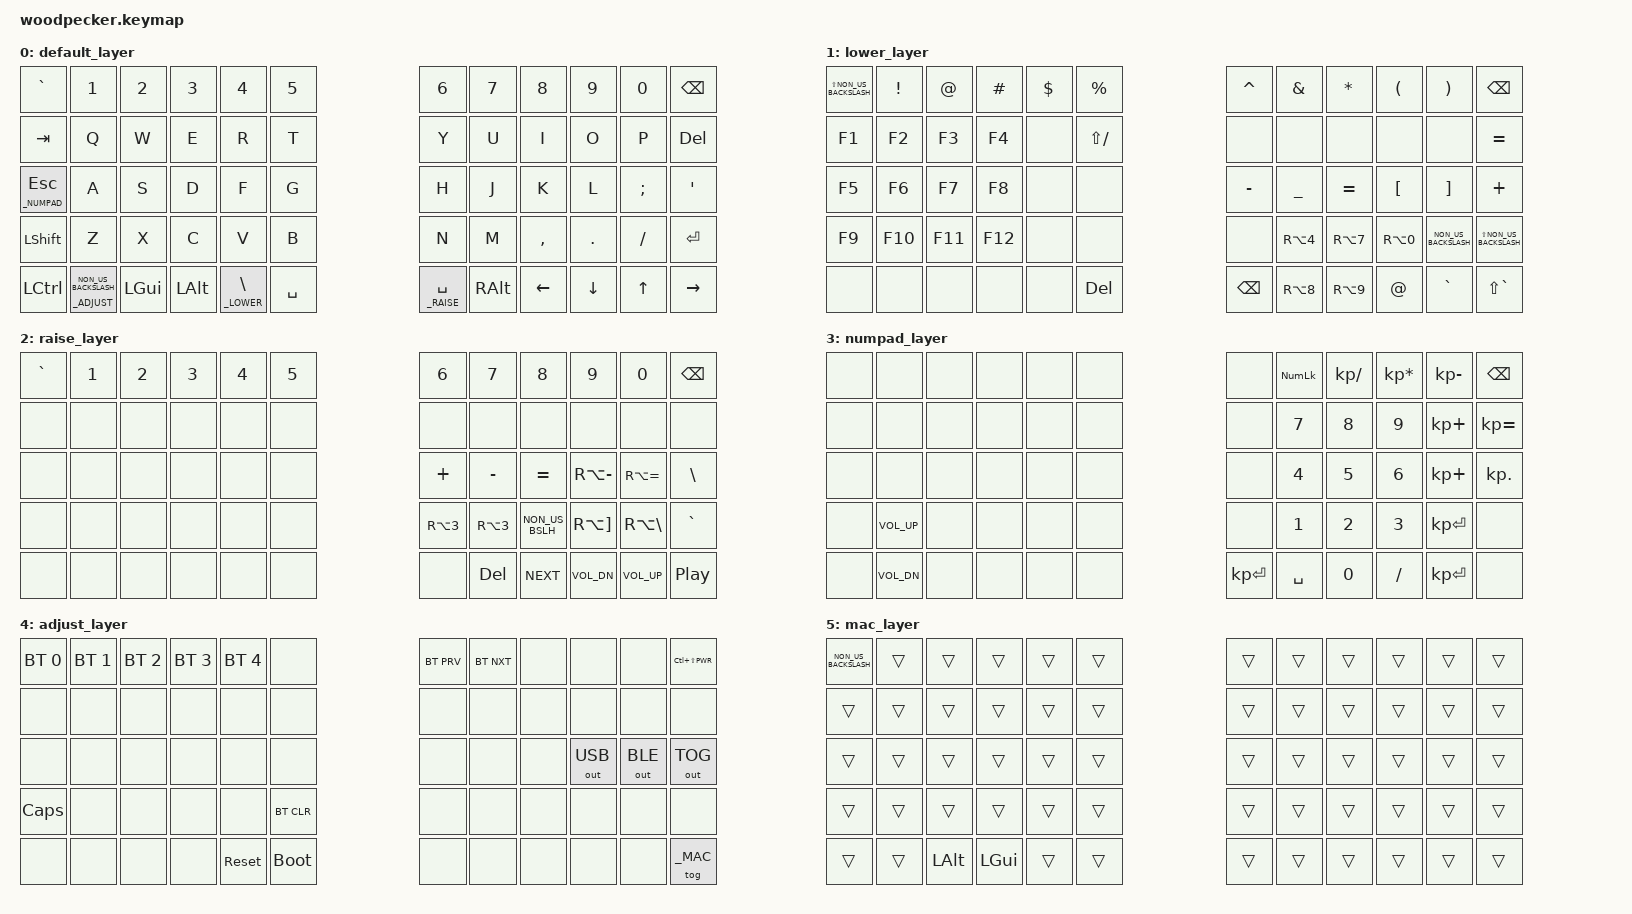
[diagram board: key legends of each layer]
/*
 * Copyright (c) 2023 The ZMK Contributors
 *
 * SPDX-License-Identifier: MIT
 */

#include <behaviors.dtsi>
#include <dt-bindings/zmk/keys.h>
#include <dt-bindings/zmk/bt.h>
// required to toggle usb and bluetooth output
#include <dt-bindings/zmk/outputs.h>

// For QMK:
// KC_NONUS_BSLASH (\|) is equivalent to ["é] key in Turkish keyboards.
// KC_GRV (~ `) is equivalent to [<>|] key in Turkish keyboards.
// KC_SCLN is Turkish s [şŞ] key
// KC_QUOT is Turkish i [iİ] key
// KC_COMM is Turkish o [öÖ] key
// KC_DOT is Turkish c [çÇ] key

// For ZMK:
// NON_US_BACKSLASH (\|) is equivalent to ["é] key in Turkish keyboards.
// GRAVE (~ `) is equivalent to [<>|] key in Turkish keyboards.
// SEMI (;) is Turkish s [şŞ] key
// SQT (') is Turkish i [iİ] key
// COMMA (,) is Turkish o [öÖ] key
// DOT (.) is Turkish c [çÇ] key
// FSLH (/) is Turkish dot [.:] key
// BSLH (\) is Turkish comma (,;) key


// In Turkish Windows, Grave and Non US Backslash are switched


// Custom shortcuts specific to Turkish layout
#define _CURLY_OPEN RA(N7)
#define _CURLY_CLOSE RA(N0)
#define _AT_SIGN RA(Q)
#define _SQUARE_OPEN RA(N8)
#define _SQUARE_CLOSE RA(N9)
#define _DOLLAR_SIGN RA(N4)
#define _BACKSLASH RA(MINUS)
#define _VERTICAL_PIPE RA(EQUAL)
#define _BACKTICK RA(BACKSLASH)
#define _TILDE RA(RIGHT_BRACKET)
#define _HASHTAG RA(N3)
#define _LOCKSCREEN LC(LS(C_PWR))

#define _QWERTY 0
#define _LOWER 1
#define _RAISE 2
#define _NUMPAD 3
#define _ADJUST 4
#define _MAC 5

/ {
    keymap {
        compatible = "zmk,keymap";

       /* Qwerty
        * ,-----------------------------------------. ,-----------------------------------------.
        * |  "   |  1   |  2   |  3   |  4   |  5   | |  6   |  7   |  8   |  9   |  0   | BkSp |
        * |------+------+------+------+------+------| |------+------+------+------+------+------|
        * | Tab  |  Q   |  W   |  E   |  R   |  T   | |  Y   |  U   |  I   |  O   |  P   | Del  |
        * |------+------+------+------+------+------| |------+------+------+------+------+------|
        * |NpdEsc|  A   |  S   |  D   |  F   |  G   | |  H   |  J   |  K   |  L   |  Ş   |  İ   |
        * |------+------+------+------+------+------| |------+------+------+------+------+------|
        * | LSFT |  Z   |  X   |  C   |  V   |  B   | |  N   |  M   |  Ö   |  Ç   |  .   |SftEnt|
        * |------+------+------+------+------+------| |------+------+------+------+------+------|
        * | Ctrl |Adj|<>| Win  | Alt  |Lowr|,|Space | |RaiSPC| AltGR| Left | Down |  Up  | Rght |
        * `-----------------------------------------' `-----------------------------------------'
        */

        default_layer {
            bindings = <
            &kp GRAVE &kp N1  &kp N2  &kp N3  &kp N4  &kp N5                    &kp N6  &kp N7  &kp N8  &kp N9  &kp N0  &kp BSPC
            &kp TAB  &kp Q  &kp W  &kp E  &kp R  &kp T                          &kp Y  &kp U  &kp I  &kp O  &kp P  &kp DEL
            &lt _NUMPAD ESC  &kp A  &kp S  &kp D  &kp F  &kp G                  &kp H  &kp J  &kp K  &kp L  &kp SEMI  &kp SQT
            &kp LSHFT  &kp Z  &kp X  &kp C  &kp V  &kp B                        &kp N  &kp M  &kp COMMA  &kp DOT  &kp FSLH  &kp ENTER
            &kp LCTRL  &lt _ADJUST NON_US_BACKSLASH  &kp LGUI  &kp LALT  &lt _LOWER BSLH  &kp SPACE        &lt _RAISE SPACE  &kp RALT  &kp LEFT  &kp DOWN  &kp UP  &kp RIGHT
            >;
        };

        /* Lower
        * ,-----------------------------------------. ,-----------------------------------------.
        * |  >   |  !   |   '  |  ^   |   +  |  %   | |  &   |   /  |  (   |   )  |   =  | BKSP |
        * |------+------+------+------+------+------| |------+------+------+------+------+------|
        * |  F1  |  F2  |  F3  |  F4  |      |   :  | |      |      |      |      |      |  -   |
        * |------+------+------+------+------+------| |------+------+------+------+------+------|
        * |  F5  |  F6  |  F7  |  F8  |      |      | |   *  |  ?   |  -   |  Ğ   |  Ü   |  _   |
        * |------+------+------+------+------+------| |------+------+------+------+------+------|
        * |  F9  |  F10 |  F11 |  F12 |      |      | |      |  $   |  {   |   }  |  <   |  >   |
        * |------+------+------+------+------+------| |------+------+------+------+------+------|
        * |      |      |      |      |[=xx=]| DEL  | | BKSP |  [   |  ]   |   '  |  "   |  é   |
        * `-----------------------------------------' `-----------------------------------------'
        */
        lower_layer {
            bindings = <
            &kp LS(NON_US_BACKSLASH)  &kp EXCL  &kp AT  &kp HASH  &kp DLLR  &kp PRCNT               &kp CARET  &kp AMPS  &kp ASTERISK  &kp LPAR  &kp RPAR  &kp BSPC
            &kp F1  &kp F2  &kp F3  &kp F4  &none   &kp LS(FSLH)                                    &none  &none  &none  &none  &none  &kp EQUAL
            &kp F5  &kp F6  &kp F7  &kp F8  &none   &none                                           &kp MINUS  &kp UNDERSCORE  &kp EQUAL  &kp LEFT_BRACKET  &kp RIGHT_BRACKET  &kp PLUS
            &kp F9  &kp F10 &kp F11  &kp F12  &none  &none                                          &none  &kp _DOLLAR_SIGN  &kp _CURLY_OPEN  &kp _CURLY_CLOSE  &kp NON_US_BACKSLASH  &kp LS(NON_US_BACKSLASH)
            &none  &none  &none  &none  &none  &kp DEL                                              &kp BSPC  &kp _SQUARE_OPEN  &kp _SQUARE_CLOSE  &kp AT  &kp GRAVE  &kp LS(GRAVE)
            >;
        };

        /* Raise
        * ,-----------------------------------------. ,-----------------------------------------.
        * |  <>| |  1   |  2   |  3   |  4   |  5   | |  6   |  7   |  8   |  9   |  0   | BKSP |
        * |------+------+------+------+------+------| |------+------+------+------+------+------|
        * |      |      |      |      |      |      | |      |      |      |      |      |      |
        * |------+------+------+------+------+------| |------+------+------+------+------+------|
        * |      |      |      |      |      |      | |   _  |   *  |   -  | "\"  | "|"  |  ,   |
        * |------+------+------+------+------+------| |------+------+------+------+------+------|
        * |      |      |      |      |      |      | |   #  |   #  |   "  | "~"  | "`"  |  <>| |
        * |------+------+------+------+------+------| |------+------+------+------+------+------|
        * |      |      |      |      |      |      | |[=xx=]| DEL | Next | Vol- | Vol+ |PlyPse |
        * `-----------------------------------------' `-----------------------------------------'
        */
        raise_layer {
            bindings = <
            &kp GRAVE  &kp N1  &kp N2  &kp N3  &kp N4  &kp N5    &kp N6  &kp N7  &kp N8  &kp N9  &kp N0  &kp BSPC
            &none  &none  &none  &none  &none  &none             &none  &none  &none  &none  &none  &none
            &none  &none  &none  &none  &none  &none             &kp PLUS  &kp MINUS  &kp EQUAL  &kp _BACKSLASH  &kp _VERTICAL_PIPE  &kp BACKSLASH
            &none  &none  &none  &none  &none  &none             &kp _HASHTAG  &kp _HASHTAG  &kp NON_US_BSLH  &kp _TILDE  &kp _BACKTICK  &kp GRAVE
            &none  &none  &none  &none  &none  &none             &none  &kp DEL  &kp C_NEXT  &kp C_VOL_DN  &kp C_VOL_UP  &kp C_PLAY_PAUSE
            >;
        };

        /* Numpad
        * KP_PDOT is comma on the Turkish layout ¯\_(ツ)_/¯
        * ,-----------------------------------------. ,-----------------------------------------.
        * |      |      |      |      |      |      | |      | NLCK |   /  |   *  |   -  | Bksp |
        * |------+------+------+------+------+------| |------+------+------+------+------+------|
        * |      |      |      |      |      |      | |      |   7  |   8  |   9  |   +  |  =   |
        * |------+------+------+------+------+------| |------+------+------+------+------+------|
        * |[=xx=]|      |      |      |      |      | |      |   4  |   5  |   6  |   +  |  ,   |
        * |------+------+------+------+------+------| |------+------+------+------+------+------|
        * |      | Vol+ |      |      |      |      | |      |   1  |   2  |   3  |Enter |      |
        * |------+------+------+------+------+------| |------+------+------+------+------+------|
        * |      | Vol- |      |      |      |      | |Enter |Space |   0  |   .  |Enter |      |
        * `-----------------------------------------' `-----------------------------------------'
        */
        numpad_layer {
            bindings = <
            &none  &none  &none  &none  &none  &none                    &none  &kp KP_NUMLOCK  &kp KP_SLASH  &kp KP_ASTERISK  &kp KP_MINUS  &kp BSPC
            &none  &none  &none  &none  &none  &none                    &none  &kp N7  &kp N8  &kp N9  &kp KP_PLUS  &kp KP_EQUAL
            &none  &none  &none  &none  &none  &none                    &none  &kp N4  &kp N5  &kp N6  &kp KP_PLUS  &kp KP_DOT
            &none  &kp C_VOL_UP  &none  &none  &none  &none             &none  &kp N1  &kp N2  &kp N3  &kp KP_ENTER  &none
            &none  &kp C_VOL_DN  &none  &none  &none  &none             &kp KP_ENTER  &kp SPACE  &kp N0  &kp SLASH  &kp KP_ENTER  &none
            >;
        };


        /* Adjust
        * ,-----------------------------------------. ,-----------------------------------------.
        * |  BT0 |  BT1 |  BT2 |  BT3 |  BT4 |      | | BtPrv| BtNxt|      |      |      |LckOSX|
        * |------+------+------+------+------+------| |------+------+------+------+------+------|
        * |      |      |      |      |      |      | |      |      |      |      |      |      |
        * |------+------+------+------+------+------| |------+------+------+------+------+------|
        * |      |      |      |      |      |      | |      |      |      |OutUSB|OutBLE|OutTog|
        * |------+------+------+------+------+------| |------+------+------+------+------+------|
        * |CpsLck|      |      |      |      | BtClr| |      |      |      |      |      |      |
        * |------+------+------+------+------+------| |------+------+------+------+------+------|
        * |      |[=xx=]|      |      | Reset|BootLd| |      |      |      |      |      | MAC  |
        * `-----------------------------------------' `-----------------------------------------'
        */
        adjust_layer {
            bindings = <
            &bt BT_SEL 0 &bt BT_SEL 1 &bt BT_SEL 2 &bt BT_SEL 3 &bt BT_SEL 4  &none             &bt BT_PRV  &bt BT_NXT  &none  &none  &none  &kp _LOCKSCREEN
            &none  &none  &none  &none  &none  &none                                            &none  &none  &none  &none  &none  &none
            &none  &none  &none  &none  &none  &none                                            &none  &none  &none  &out OUT_USB  &out OUT_BLE  &out OUT_TOG
            &kp CLCK  &none  &none  &none  &none  &bt BT_CLR                                    &none  &none  &none  &none  &none  &none
            &none  &none  &none  &none  &sys_reset  &bootloader                                 &none  &none  &none  &none  &none  &tog _MAC
            >;
        };


        /* Mac Layer
        * ,-----------------------------------------. ,-----------------------------------------.
        * |   "  |      |      |      |      |      | |      |      |      |      |      |      |
        * |------+------+------+------+------+------| |------+------+------+------+------+------|
        * |      |      |      |      |      |      | |      |      |      |      |      |      |
        * |------+------+------+------+------+------| |------+------+------+------+------+------|
        * |      |      |      |      |      |      | |      |      |      |      |      |      |
        * |------+------+------+------+------+------| |------+------+------+------+------+------|
        * |      |      |      |      |      |      | |      |      |      |      |      |      |
        * |------+------+------+------+------+------| |------+------+------+------+------+------|
        * |      |      |  ALT |  GUI |      |      | |      |      |      |      |      |      |
        * `-----------------------------------------' `-----------------------------------------'
        */
        mac_layer {
            bindings = <
            &kp NON_US_BACKSLASH  &trans  &trans  &trans  &trans  &trans                        &trans  &trans  &trans  &trans  &trans  &trans
            &trans  &trans  &trans  &trans  &trans  &trans                                      &trans  &trans  &trans  &trans  &trans  &trans
            &trans  &trans  &trans  &trans  &trans  &trans                                      &trans  &trans  &trans  &trans  &trans  &trans
            &trans  &trans  &trans  &trans  &trans  &trans                                      &trans  &trans  &trans  &trans  &trans  &trans
            &trans  &trans  &kp LALT  &kp LGUI  &trans  &trans                                  &trans  &trans  &trans  &trans  &trans  &trans
            >;
        };
    };
};
